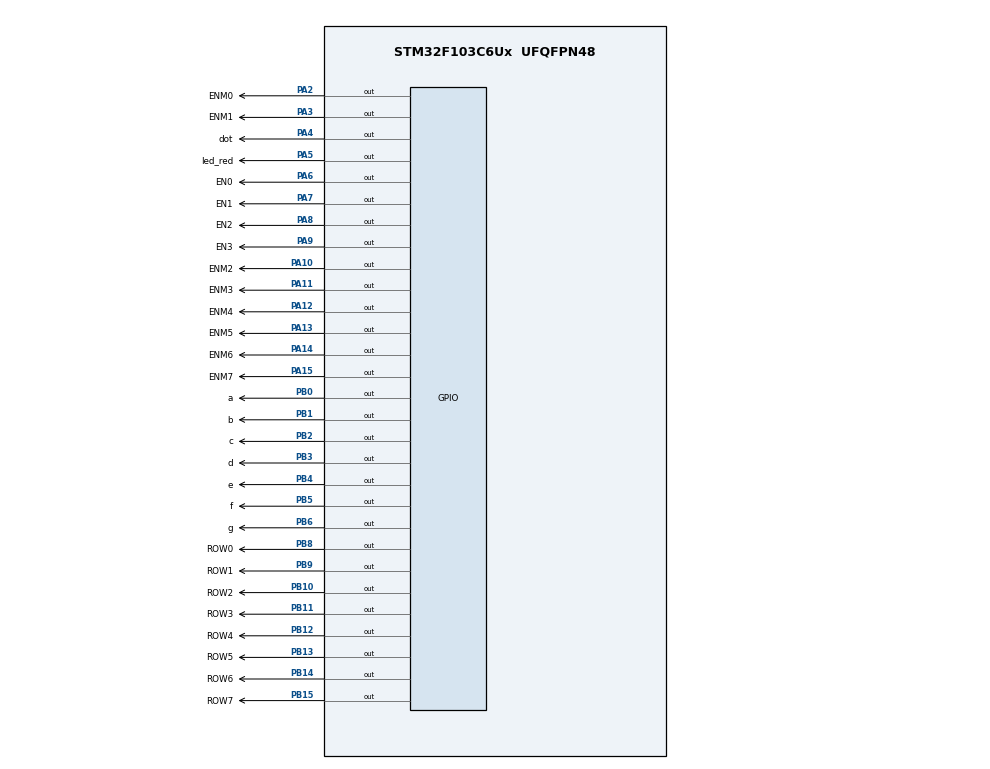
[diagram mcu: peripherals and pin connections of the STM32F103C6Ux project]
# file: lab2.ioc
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Mcu.Family=STM32F1
Mcu.Name=STM32F103C6Ux
Mcu.Package=UFQFPN48
NVIC.PriorityGroup=NVIC_PRIORITYGROUP_4
NVIC.TIM2_IRQn=true\:0\:0\:false\:false\:true\:true\:true
PA10.GPIO_Label=ENM2
PA10.Signal=GPIO_Output
PA11.GPIO_Label=ENM3
PA11.Signal=GPIO_Output
PA12.GPIO_Label=ENM4
PA12.Signal=GPIO_Output
PA13.GPIO_Label=ENM5
PA13.Signal=GPIO_Output
PA14.GPIO_Label=ENM6
PA14.Signal=GPIO_Output
PA15.GPIO_Label=ENM7
PA15.Signal=GPIO_Output
PA2.GPIO_Label=ENM0
PA2.Signal=GPIO_Output
PA3.GPIO_Label=ENM1
PA3.Signal=GPIO_Output
PA4.GPIO_Label=dot
PA4.Signal=GPIO_Output
PA5.GPIO_Label=led_red
PA5.Signal=GPIO_Output
PA6.GPIO_Label=EN0
PA6.Signal=GPIO_Output
PA7.GPIO_Label=EN1
PA7.Signal=GPIO_Output
PA8.GPIO_Label=EN2
PA8.Signal=GPIO_Output
PA9.GPIO_Label=EN3
PA9.Signal=GPIO_Output
PB0.GPIO_Label=a
PB0.Signal=GPIO_Output
PB1.GPIO_Label=b
PB1.Signal=GPIO_Output
PB10.GPIO_Label=ROW2
PB10.Signal=GPIO_Output
PB11.GPIO_Label=ROW3
PB11.Signal=GPIO_Output
PB12.GPIO_Label=ROW4
PB12.Signal=GPIO_Output
PB13.GPIO_Label=ROW5
PB13.Signal=GPIO_Output
PB14.GPIO_Label=ROW6
PB14.Signal=GPIO_Output
PB15.GPIO_Label=ROW7
PB15.Signal=GPIO_Output
PB2.GPIO_Label=c
PB2.Signal=GPIO_Output
PB3.GPIO_Label=d
PB3.Signal=GPIO_Output
PB4.GPIO_Label=e
PB4.Signal=GPIO_Output
PB5.GPIO_Label=f
PB5.Signal=GPIO_Output
PB6.GPIO_Label=g
PB6.Signal=GPIO_Output
PB8.GPIO_Label=ROW0
PB8.Signal=GPIO_Output
PB9.GPIO_Label=ROW1
PB9.Signal=GPIO_Output
ProjectManager.HeapSize=0x200
ProjectManager.StackSize=0x400
ProjectManager.TargetToolchain=STM32CubeIDE
RCC.APB1Freq_Value=8000000
RCC.APB2Freq_Value=8000000
TIM2.Period=9
TIM2.Prescaler=7999
VP_SYS_VS_ND.Mode=No_Debug
VP_TIM2_VS_ClockSourceINT.Mode=Internal
board=custom

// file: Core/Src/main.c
/* USER CODE BEGIN Header */
/**
  ******************************************************************************
  * @file           : main.c
  * @brief          : Main program body
  ******************************************************************************
  * @attention
  *
  * <h2><center>&copy; Copyright (c) 2023 STMicroelectronics.
  * All rights reserved.</center></h2>
  *
  * This software component is licensed by ST under BSD 3-Clause license,
  * the "License"; You may not use this file except in compliance with the
  * License. You may obtain a copy of the License at:
  *                        opensource.org/licenses/BSD-3-Clause
  *
  ******************************************************************************
  */
/* USER CODE END Header */
#include "main.h"

/* USER CODE BEGIN Includes */
#include "software_timer.h"
/* USER CODE END Includes */

TIM_HandleTypeDef htim2;

void SystemClock_Config(void);
static void MX_GPIO_Init(void);
static void MX_TIM2_Init(void);

int main(void)
{

  /* MCU Configuration--------------------------------------------------------*/

  /* Reset of all peripherals, Initializes the Flash interface and the Systick. */
  HAL_Init();

  /* Configure the system clock */
  SystemClock_Config();

  /* Initialize all configured peripherals */
  MX_GPIO_Init();
  MX_TIM2_Init();
  /* USER CODE BEGIN 2 */
  HAL_TIM_Base_Start_IT(&htim2);
  /* USER CODE END 2 */

  /* Infinite loop */
  /* USER CODE BEGIN WHILE */
  void Display7SEG(int num){
	  HAL_GPIO_WritePin(a_GPIO_Port,a_Pin, GPIO_PIN_SET);
	  HAL_GPIO_WritePin(b_GPIO_Port,b_Pin, GPIO_PIN_SET);
	  HAL_GPIO_WritePin(c_GPIO_Port,c_Pin, GPIO_PIN_SET);
	  HAL_GPIO_WritePin(g_GPIO_Port,g_Pin, GPIO_PIN_SET);
	  HAL_GPIO_WritePin(e_GPIO_Port,e_Pin, GPIO_PIN_SET);
	  HAL_GPIO_WritePin(d_GPIO_Port,d_Pin, GPIO_PIN_SET);
	  HAL_GPIO_WritePin(f_GPIO_Port,f_Pin, GPIO_PIN_SET);
	  switch(num){
	  case 0:
		  HAL_GPIO_WritePin(a_GPIO_Port,a_Pin, GPIO_PIN_RESET);
		  HAL_GPIO_WritePin(b_GPIO_Port,b_Pin, GPIO_PIN_RESET);
		  HAL_GPIO_WritePin(c_GPIO_Port,c_Pin, GPIO_PIN_RESET);
		  HAL_GPIO_WritePin(e_GPIO_Port,e_Pin, GPIO_PIN_RESET);
		  HAL_GPIO_WritePin(d_GPIO_Port,d_Pin, GPIO_PIN_RESET);
		  HAL_GPIO_WritePin(f_GPIO_Port,f_Pin, GPIO_PIN_RESET);
		  break;
	  case 1:
		  HAL_GPIO_WritePin(b_GPIO_Port,b_Pin, GPIO_PIN_RESET);
		  HAL_GPIO_WritePin(c_GPIO_Port,c_Pin, GPIO_PIN_RESET);
		  break;
	  case 2:
		  HAL_GPIO_WritePin(a_GPIO_Port,a_Pin, GPIO_PIN_RESET);
		  HAL_GPIO_WritePin(b_GPIO_Port,b_Pin, GPIO_PIN_RESET);
		  HAL_GPIO_WritePin(g_GPIO_Port,g_Pin, GPIO_PIN_RESET);
		  HAL_GPIO_WritePin(e_GPIO_Port,e_Pin, GPIO_PIN_RESET);
		  HAL_GPIO_WritePin(d_GPIO_Port,d_Pin, GPIO_PIN_RESET);
		  break;
	  case 3:
		  HAL_GPIO_WritePin(a_GPIO_Port,a_Pin, GPIO_PIN_RESET);
		  HAL_GPIO_WritePin(b_GPIO_Port,b_Pin, GPIO_PIN_RESET);
		  HAL_GPIO_WritePin(g_GPIO_Port,g_Pin, GPIO_PIN_RESET);
		  HAL_GPIO_WritePin(c_GPIO_Port,c_Pin, GPIO_PIN_RESET);
		  HAL_GPIO_WritePin(d_GPIO_Port,d_Pin, GPIO_PIN_RESET);
		  break;
	  case 4:
		  HAL_GPIO_WritePin(f_GPIO_Port,f_Pin, GPIO_PIN_RESET);
		  HAL_GPIO_WritePin(b_GPIO_Port,b_Pin, GPIO_PIN_RESET);
		  HAL_GPIO_WritePin(g_GPIO_Port,g_Pin, GPIO_PIN_RESET);
		  HAL_GPIO_WritePin(c_GPIO_Port,c_Pin, GPIO_PIN_RESET);
		  break;
	  case 5:
		  HAL_GPIO_WritePin(a_GPIO_Port,a_Pin, GPIO_PIN_RESET);
		  HAL_GPIO_WritePin(f_GPIO_Port,f_Pin, GPIO_PIN_RESET);
		  HAL_GPIO_WritePin(g_GPIO_Port,g_Pin, GPIO_PIN_RESET);
		  HAL_GPIO_WritePin(c_GPIO_Port,c_Pin, GPIO_PIN_RESET);
		  HAL_GPIO_WritePin(d_GPIO_Port,d_Pin, GPIO_PIN_RESET);
		  break;
	  case 6:
		  HAL_GPIO_WritePin(a_GPIO_Port,a_Pin, GPIO_PIN_RESET);
		  HAL_GPIO_WritePin(f_GPIO_Port,f_Pin, GPIO_PIN_RESET);
		  HAL_GPIO_WritePin(g_GPIO_Port,g_Pin, GPIO_PIN_RESET);
		  HAL_GPIO_WritePin(e_GPIO_Port,e_Pin, GPIO_PIN_RESET);
		  HAL_GPIO_WritePin(c_GPIO_Port,c_Pin, GPIO_PIN_RESET);
		  HAL_GPIO_WritePin(d_GPIO_Port,d_Pin, GPIO_PIN_RESET);
		  break;
	  case 7:
	     HAL_GPIO_WritePin(a_GPIO_Port,a_Pin, GPIO_PIN_RESET);
	  	 HAL_GPIO_WritePin(b_GPIO_Port,b_Pin, GPIO_PIN_RESET);
	  	 HAL_GPIO_WritePin(c_GPIO_Port,c_Pin, GPIO_PIN_RESET);
	  	 break;
	  case 8:
		  HAL_GPIO_WritePin(a_GPIO_Port,a_Pin, GPIO_PIN_RESET);
		  HAL_GPIO_WritePin(b_GPIO_Port,b_Pin, GPIO_PIN_RESET);
		  HAL_GPIO_WritePin(c_GPIO_Port,c_Pin, GPIO_PIN_RESET);
		  HAL_GPIO_WritePin(g_GPIO_Port,g_Pin, GPIO_PIN_RESET);
		  HAL_GPIO_WritePin(e_GPIO_Port,e_Pin, GPIO_PIN_RESET);
		  HAL_GPIO_WritePin(d_GPIO_Port,d_Pin, GPIO_PIN_RESET);
		  HAL_GPIO_WritePin(f_GPIO_Port,f_Pin, GPIO_PIN_RESET);
		  break;
	  case 9:
		  HAL_GPIO_WritePin(a_GPIO_Port,a_Pin, GPIO_PIN_RESET);
		  HAL_GPIO_WritePin(b_GPIO_Port,b_Pin, GPIO_PIN_RESET);
		  HAL_GPIO_WritePin(c_GPIO_Port,c_Pin, GPIO_PIN_RESET);
		  HAL_GPIO_WritePin(g_GPIO_Port,g_Pin, GPIO_PIN_RESET);
		  HAL_GPIO_WritePin(d_GPIO_Port,d_Pin, GPIO_PIN_RESET);
		  HAL_GPIO_WritePin(f_GPIO_Port,f_Pin, GPIO_PIN_RESET);
		  break;
	  }
  }
  const int MAX_LED = 4;
  int index_led = 0;
  int led_buffer [4] = {1 , 2 , 3 , 4};
  void update7SEG ( int index ) {
	  switch(index){
	  case 0:
		  HAL_GPIO_WritePin(EN0_GPIO_Port, EN0_Pin, GPIO_PIN_RESET);
		  HAL_GPIO_WritePin(EN1_GPIO_Port, EN1_Pin, GPIO_PIN_SET);
		  HAL_GPIO_WritePin(EN2_GPIO_Port, EN2_Pin, GPIO_PIN_SET);
		  HAL_GPIO_WritePin(EN3_GPIO_Port, EN3_Pin, GPIO_PIN_SET);
		  Display7SEG(led_buffer[index]);
		  break;
	  case 1:
		  HAL_GPIO_WritePin(EN0_GPIO_Port, EN0_Pin, GPIO_PIN_SET);
		  HAL_GPIO_WritePin(EN1_GPIO_Port, EN1_Pin, GPIO_PIN_RESET);
		  HAL_GPIO_WritePin(EN2_GPIO_Port, EN2_Pin, GPIO_PIN_SET);
		  HAL_GPIO_WritePin(EN3_GPIO_Port, EN3_Pin, GPIO_PIN_SET);
		  Display7SEG(led_buffer[index]);
		  break;
	  case 2:
		  HAL_GPIO_WritePin(EN0_GPIO_Port, EN0_Pin, GPIO_PIN_SET);
		  HAL_GPIO_WritePin(EN1_GPIO_Port, EN1_Pin, GPIO_PIN_SET);
		  HAL_GPIO_WritePin(EN2_GPIO_Port, EN2_Pin, GPIO_PIN_RESET);
		  HAL_GPIO_WritePin(EN3_GPIO_Port, EN3_Pin, GPIO_PIN_SET);
		  Display7SEG(led_buffer[index]);
		  break;
	  case 3:
		  HAL_GPIO_WritePin(EN0_GPIO_Port, EN0_Pin, GPIO_PIN_SET);
		  HAL_GPIO_WritePin(EN1_GPIO_Port, EN1_Pin, GPIO_PIN_SET);
		  HAL_GPIO_WritePin(EN2_GPIO_Port, EN2_Pin, GPIO_PIN_SET);
		  HAL_GPIO_WritePin(EN3_GPIO_Port, EN3_Pin, GPIO_PIN_RESET);
		  Display7SEG(led_buffer[index]);
		  break;
	  default:
		  break;
	  }
  }
void  updateClockBuffer(int hour, int minute){
	  led_buffer[0] =  hour / 10;
	  led_buffer[1] = hour % 10;
	  led_buffer[2] = minute / 10;
	  led_buffer[3] = minute % 10;
  }
const int MAX_LED_MATRIX = 8;
int index_led_matrix = 0;
uint8_t matrix_buffer[8] = {0x01, 0x02 , 0x03 ,0x04 ,0x05, 0x06 ,0x07 ,0x08};
void updateLEDMatrix (int index ) {
	switch ( index ) {
	case 0:
		matrix_buffer[0] = 0x18;
		HAL_GPIO_WritePin(ENM0_GPIO_Port, ENM0_Pin, GPIO_PIN_SET);
		break;
	case 1:
		matrix_buffer[1] = 0x3C;
		HAL_GPIO_WritePin(ENM1_GPIO_Port, ENM1_Pin, GPIO_PIN_RESET);
		break;
	case 2:
		matrix_buffer[2] = 0x66;
		HAL_GPIO_WritePin(ENM2_GPIO_Port, ENM2_Pin, GPIO_PIN_RESET);
		break;
	case 3:
		matrix_buffer[3] = 0x66;
		HAL_GPIO_WritePin(ENM3_GPIO_Port, ENM3_Pin, GPIO_PIN_RESET);
		break;
	case 4:
		matrix_buffer[4] = 0x7E;
		HAL_GPIO_WritePin(ENM4_GPIO_Port, ENM4_Pin, GPIO_PIN_RESET);
		break;
	case 5:
		matrix_buffer[5] = 0x7E;
		HAL_GPIO_WritePin(ENM5_GPIO_Port, ENM5_Pin, GPIO_PIN_RESET);
		break;
	case 6:
		matrix_buffer[6] = 0x66;
		HAL_GPIO_WritePin(ENM6_GPIO_Port, ENM6_Pin, GPIO_PIN_RESET);
		break;
	case 7:
		matrix_buffer[7] = 0x66;
		HAL_GPIO_WritePin(ENM7_GPIO_Port, ENM7_Pin, GPIO_PIN_RESET);
		break;
	default:
		break;
	}

}

void turnOffMatrix(){
	  HAL_GPIO_WritePin(ENM0_GPIO_Port, ENM0_Pin, GPIO_PIN_SET);
	  HAL_GPIO_WritePin(ENM1_GPIO_Port, ENM1_Pin, GPIO_PIN_SET);
	  HAL_GPIO_WritePin(ENM2_GPIO_Port, ENM2_Pin, GPIO_PIN_SET);
	  HAL_GPIO_WritePin(ENM3_GPIO_Port, ENM3_Pin, GPIO_PIN_SET);
	  HAL_GPIO_WritePin(ENM4_GPIO_Port, ENM4_Pin, GPIO_PIN_SET);
	  HAL_GPIO_WritePin(ENM5_GPIO_Port, ENM5_Pin, GPIO_PIN_SET);
	  HAL_GPIO_WritePin(ENM6_GPIO_Port, ENM6_Pin, GPIO_PIN_SET);
	  HAL_GPIO_WritePin(ENM7_GPIO_Port, ENM7_Pin, GPIO_PIN_SET);
}
  int hour = 15, minute = 8, second = 50;
  setTimer1(100);
  setTimer2(250);
  setTimer3(100);
  setTimer4(100);
  //int status = 1;
  while (1)
  {
	  /*
	  if(timer1_flag == 1){
		  //HAL_GPIO_TogglePin(ENM0_GPIO_Port, ENM0_Pin);
		  //HAL_GPIO_TogglePin(ENM2_GPIO_Port, ENM2_Pin);
		  ///HAL_GPIO_TogglePin(ENM4_GPIO_Port, ENM4_Pin);
		  HAL_GPIO_TogglePin(ENM6_GPIO_Port, ENM6_Pin);
		  HAL_GPIO_TogglePin(ROW0_GPIO_Port,ROW0_Pin);
		  //updateLEDMatrix(1);
		  setTimer1(100);
	  }
	  */
	  if(timer1_flag == 1){
		  //TODO
		  HAL_GPIO_WritePin(ENM0_GPIO_Port, ENM0_Pin,GPIO_PIN_SET);
		  if(second > 59){
			  second = 0;
			  minute++;
		  }
		  if(minute > 59){
			  minute = 0;
			  hour++;
		  }
		  if(hour >= 24){
			  hour = 0;
		  }
		  second++;
		  updateClockBuffer(hour, minute);
		  setTimer1(100);
	  }

	  if(timer2_flag == 1){
		  update7SEG(index_led);
		  index_led++;
		  if(index_led >= MAX_LED){
			  index_led = 0;
		  }
		  setTimer2(300);
		  }
	  if(timer3_flag == 1){
		  HAL_GPIO_TogglePin(dot_GPIO_Port, dot_Pin);
		  HAL_GPIO_TogglePin(led_red_GPIO_Port, led_red_Pin);
		  setTimer3(100);
	  }
	  if(timer4_flag == 1){
		  updateLEDMatrix(index_led_matrix);
		  index_led_matrix++;
		  if(index_led_matrix >= MAX_LED_MATRIX){
			  index_led_matrix = 0;
		  }
		  setTimer4(100);
	  }
    /* USER CODE END WHILE */

  }
}

void SystemClock_Config(void)
{
  RCC_OscInitTypeDef RCC_OscInitStruct = {0};
  RCC_ClkInitTypeDef RCC_ClkInitStruct = {0};

  /** Initializes the RCC Oscillators according to the specified parameters
  * in the RCC_OscInitTypeDef structure.
  */
  RCC_OscInitStruct.OscillatorType = RCC_OSCILLATORTYPE_HSI;
  RCC_OscInitStruct.HSIState = RCC_HSI_ON;
  RCC_OscInitStruct.HSICalibrationValue = RCC_HSICALIBRATION_DEFAULT;
  RCC_OscInitStruct.PLL.PLLState = RCC_PLL_NONE;
  if (HAL_RCC_OscConfig(&RCC_OscInitStruct) != HAL_OK)
  {
    Error_Handler();
  }
  /** Initializes the CPU, AHB and APB buses clocks
  */
  RCC_ClkInitStruct.ClockType = RCC_CLOCKTYPE_HCLK|RCC_CLOCKTYPE_SYSCLK
                              |RCC_CLOCKTYPE_PCLK1|RCC_CLOCKTYPE_PCLK2;
  RCC_ClkInitStruct.SYSCLKSource = RCC_SYSCLKSOURCE_HSI;
  RCC_ClkInitStruct.AHBCLKDivider = RCC_SYSCLK_DIV1;
  RCC_ClkInitStruct.APB1CLKDivider = RCC_HCLK_DIV1;
  RCC_ClkInitStruct.APB2CLKDivider = RCC_HCLK_DIV1;

  if (HAL_RCC_ClockConfig(&RCC_ClkInitStruct, FLASH_LATENCY_0) != HAL_OK)
  {
    Error_Handler();
  }
}

static void MX_TIM2_Init(void)
{

  TIM_ClockConfigTypeDef sClockSourceConfig = {0};
  TIM_MasterConfigTypeDef sMasterConfig = {0};

  htim2.Instance = TIM2;
  htim2.Init.Prescaler = 7999;
  htim2.Init.CounterMode = TIM_COUNTERMODE_UP;
  htim2.Init.Period = 9;
  htim2.Init.ClockDivision = TIM_CLOCKDIVISION_DIV1;
  htim2.Init.AutoReloadPreload = TIM_AUTORELOAD_PRELOAD_DISABLE;
  if (HAL_TIM_Base_Init(&htim2) != HAL_OK)
  {
    Error_Handler();
  }
  sClockSourceConfig.ClockSource = TIM_CLOCKSOURCE_INTERNAL;
  if (HAL_TIM_ConfigClockSource(&htim2, &sClockSourceConfig) != HAL_OK)
  {
    Error_Handler();
  }
  sMasterConfig.MasterOutputTrigger = TIM_TRGO_RESET;
  sMasterConfig.MasterSlaveMode = TIM_MASTERSLAVEMODE_DISABLE;
  if (HAL_TIMEx_MasterConfigSynchronization(&htim2, &sMasterConfig) != HAL_OK)
  {
    Error_Handler();
  }

}

static void MX_GPIO_Init(void)
{
  GPIO_InitTypeDef GPIO_InitStruct = {0};

  /* GPIO Ports Clock Enable */
  __HAL_RCC_GPIOA_CLK_ENABLE();
  __HAL_RCC_GPIOB_CLK_ENABLE();

  /*Configure GPIO pin Output Level */
  HAL_GPIO_WritePin(GPIOA, ENM0_Pin|ENM1_Pin|dot_Pin|led_red_Pin
                          |EN0_Pin|EN1_Pin|EN2_Pin|EN3_Pin
                          |ENM2_Pin|ENM3_Pin|ENM4_Pin|ENM5_Pin
                          |ENM6_Pin|ENM7_Pin, GPIO_PIN_RESET);

  /*Configure GPIO pin Output Level */
  HAL_GPIO_WritePin(GPIOB, a_Pin|b_Pin|c_Pin|ROW2_Pin
                          |ROW3_Pin|ROW4_Pin|ROW5_Pin|ROW6_Pin
                          |ROW7_Pin|d_Pin|e_Pin|f_Pin
                          |g_Pin|ROW0_Pin|ROW1_Pin, GPIO_PIN_RESET);

  /*Configure GPIO pins : ENM0_Pin ENM1_Pin dot_Pin led_red_Pin
                           EN0_Pin EN1_Pin EN2_Pin EN3_Pin
                           ENM2_Pin ENM3_Pin ENM4_Pin ENM5_Pin
                           ENM6_Pin ENM7_Pin */
  GPIO_InitStruct.Pin = ENM0_Pin|ENM1_Pin|dot_Pin|led_red_Pin
                          |EN0_Pin|EN1_Pin|EN2_Pin|EN3_Pin
                          |ENM2_Pin|ENM3_Pin|ENM4_Pin|ENM5_Pin
                          |ENM6_Pin|ENM7_Pin;
  GPIO_InitStruct.Mode = GPIO_MODE_OUTPUT_PP;
  GPIO_InitStruct.Pull = GPIO_NOPULL;
  GPIO_InitStruct.Speed = GPIO_SPEED_FREQ_LOW;
  HAL_GPIO_Init(GPIOA, &GPIO_InitStruct);

  /*Configure GPIO pins : a_Pin b_Pin c_Pin ROW2_Pin
                           ROW3_Pin ROW4_Pin ROW5_Pin ROW6_Pin
                           ROW7_Pin d_Pin e_Pin f_Pin
                           g_Pin ROW0_Pin ROW1_Pin */
  GPIO_InitStruct.Pin = a_Pin|b_Pin|c_Pin|ROW2_Pin
                          |ROW3_Pin|ROW4_Pin|ROW5_Pin|ROW6_Pin
                          |ROW7_Pin|d_Pin|e_Pin|f_Pin
                          |g_Pin|ROW0_Pin|ROW1_Pin;
  GPIO_InitStruct.Mode = GPIO_MODE_OUTPUT_PP;
  GPIO_InitStruct.Pull = GPIO_NOPULL;
  GPIO_InitStruct.Speed = GPIO_SPEED_FREQ_LOW;
  HAL_GPIO_Init(GPIOB, &GPIO_InitStruct);

}

/* USER CODE BEGIN 4 */
void HAL_TIM_PeriodElapsedCallback(TIM_HandleTypeDef *htim){
	timerRun();
}
/* USER CODE END 4 */

void Error_Handler(void)
{
  __disable_irq();
  while (1)
  {
  }
}

/************************ (C) COPYRIGHT STMicroelectronics *****END OF FILE****/
